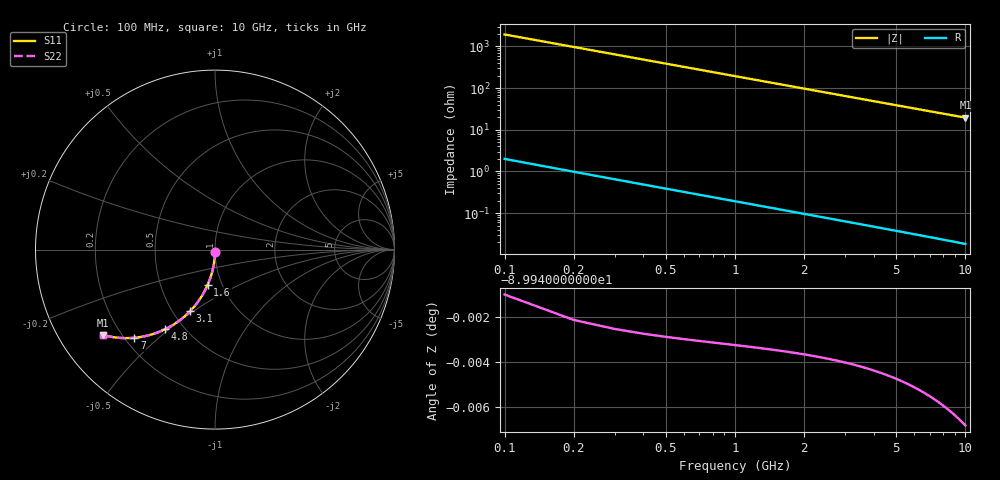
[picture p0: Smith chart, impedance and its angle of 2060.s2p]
# Hz S RI R 50.00
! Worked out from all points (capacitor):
!   100 points, 100 MHz to 10 GHz, reference 50 ohm
!   read as one part in shunt: C = 821 fF near 100 MHz
!   lowest |Z| = 19.6 ohm at 10 GHz (marker M1)
!   S11 on the Smith chart (normalised r, x): 100 MHz: 1.00, -0.03; 1.6 GHz: 0.86, -0.35; 3.1 GHz: 0.61, -0.48; 4.8 GHz: 0.40, -0.48; 7 GHz: 0.24, -0.42; 10 GHz: 0.13, -0.33
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1e8  -0.000123 -0.0128  0.9998 -0.013  0.9998 -0.013  -0.000123 -0.0128
2e8  -0.000635 -0.0256  0.9993 -0.0259  0.9993 -0.0259  -0.000635 -0.0256
3e8  -0.00148 -0.0384  0.9984 -0.0389  0.9984 -0.0389  -0.00148 -0.0384
4e8  -0.00265 -0.0511  0.9972 -0.0518  0.9972 -0.0518  -0.00265 -0.0511
5e8  -0.00415 -0.0638  0.9957 -0.0646  0.9957 -0.0646  -0.00415 -0.0638
6e8  -0.00597 -0.0764  0.9939 -0.0774  0.9939 -0.0774  -0.00597 -0.0764
7e8  -0.00812 -0.089  0.9918 -0.0901  0.9918 -0.0901  -0.00812 -0.089
9e8  -0.0134 -0.1138  0.9865 -0.1153  0.9865 -0.1153  -0.0134 -0.1138
1.2e9  -0.0235 -0.1502  0.9764 -0.1521  0.9764 -0.1521  -0.0235 -0.1502
1.6e9  -0.041 -0.1966  0.9589 -0.1992  0.9589 -0.1992  -0.041 -0.1966
1.8e9  -0.0513 -0.2188  0.9486 -0.2217  0.9486 -0.2217  -0.0513 -0.2188
2.4e9  -0.0876 -0.2804  0.9122 -0.2843  0.9122 -0.2843  -0.0876 -0.2804
3.1e9  -0.1381 -0.342  0.8618 -0.3471  0.8618 -0.3471  -0.1381 -0.342
3.4e9  -0.1615 -0.3648  0.8383 -0.3704  0.8383 -0.3704  -0.1615 -0.3648
4.1e9  -0.2188 -0.4096  0.7811 -0.4163  0.7811 -0.4163  -0.2188 -0.4096
4.8e9  -0.2773 -0.4433  0.7225 -0.4511  0.7225 -0.4511  -0.2773 -0.4433
5.1e9  -0.3023 -0.4546  0.6976 -0.4629  0.6976 -0.4629  -0.3023 -0.4546
5.9e9  -0.367 -0.4767  0.6328 -0.4863  0.6328 -0.4863  -0.367 -0.4767
6.7e9  -0.4278 -0.4888  0.572 -0.4998  0.572 -0.4998  -0.4278 -0.4888
7e9  -0.4494 -0.4912  0.5504 -0.5027  0.5504 -0.5027  -0.4494 -0.4912
8.4e9  -0.5404 -0.4909  0.4594 -0.5048  0.4594 -0.5048  -0.5404 -0.4909
1e10  -0.6251 -0.4753  0.3746 -0.4918  0.3746 -0.4918  -0.6251 -0.4753
